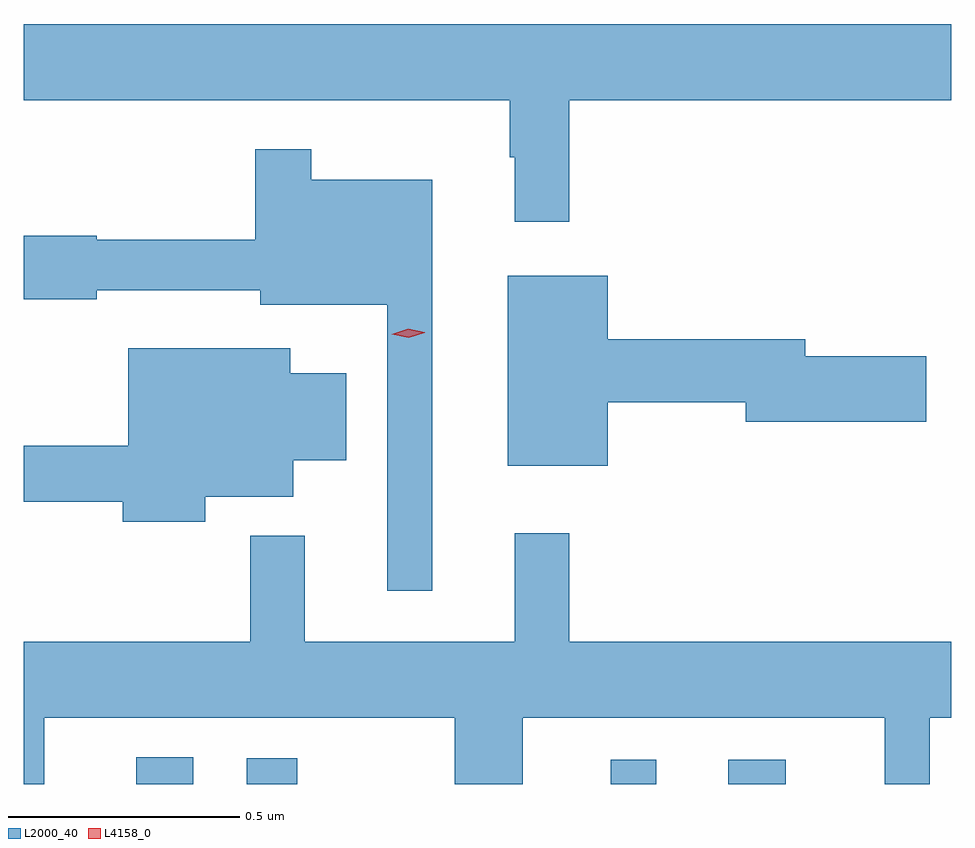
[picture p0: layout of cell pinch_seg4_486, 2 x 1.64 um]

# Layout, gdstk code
import gdstk
lib = gdstk.Library(unit=1e-6, precision=1e-09)
def R(c, l, rs):  # rectangles x0, y0, x1, y1
    for r in rs: c.add(gdstk.rectangle(r[:2], r[2:], *l))
def P(c, l, *ps):  # polygons
    for p in ps: c.add(gdstk.Polygon(p, *l))
L2000_40 = (2000, 40)
L4158_0 = (4158, 0)

pinch_seg4_486 = lib.new_cell('pinch_seg4_486')
R(pinch_seg4_486, L2000_40, [(925.934,752.721,926.056,752.779), (926.172,752.721,926.281,752.776), (926.957,752.721,927.055,752.773), (927.21,752.721,927.334,752.773)])
P(pinch_seg4_486, L2000_40, [(926.867,754.196),(927.691,754.196),(927.691,754.36),(925.691,754.36),(925.691,754.196),(926.739,754.196),(926.739,754.073),(926.75,754.073),(926.75,753.933),(926.867,753.933)],
  [(926.572,754.024),(926.311,754.024),(926.311,754.09),(926.19,754.09),(926.19,753.895),(925.848,753.895),(925.848,753.903),(925.691,753.903),(925.691,753.766),(925.848,753.766),(925.848,753.786),(926.201,753.786),(926.201,753.755),(926.475,753.755),(926.475,753.138),(926.572,753.138)],
  [(926.95,753.544),(927.248,753.544),(927.248,753.502),(927.637,753.502),(927.637,753.644),(927.376,753.644),(927.376,753.68),(926.95,753.68),(926.95,753.817),(926.735,753.817),(926.735,753.407),(926.95,753.407)],
  [(926.082,753.341),(926.272,753.341),(926.272,753.419),(926.386,753.419),(926.386,753.607),(926.266,753.607),(926.266,753.661),(925.916,753.661),(925.916,753.451),(925.691,753.451),(925.691,753.33),(925.904,753.33),(925.904,753.287),(926.082,753.287)],
  [(925.735,752.864),(926.62,752.864),(926.62,752.721),(926.767,752.721),(926.767,752.864),(927.548,752.864),(927.548,752.721),(927.645,752.721),(927.645,752.864),(927.691,752.864),(927.691,753.028),(926.867,753.028),(926.867,753.262),(926.75,753.262),(926.75,753.028),(926.297,753.028),(926.297,753.256),(926.179,753.256),(926.179,753.028),(925.691,753.028),(925.691,752.721),(925.735,752.721)])
P(pinch_seg4_486, L4158_0, [(926.521,753.683),(926.485,753.691),(926.485,753.691),(926.485,753.691),(926.52,753.703),(926.556,753.695),(926.556,753.694),(926.556,753.694)])

lib.write_gds('pinch_seg4_486.gds')
